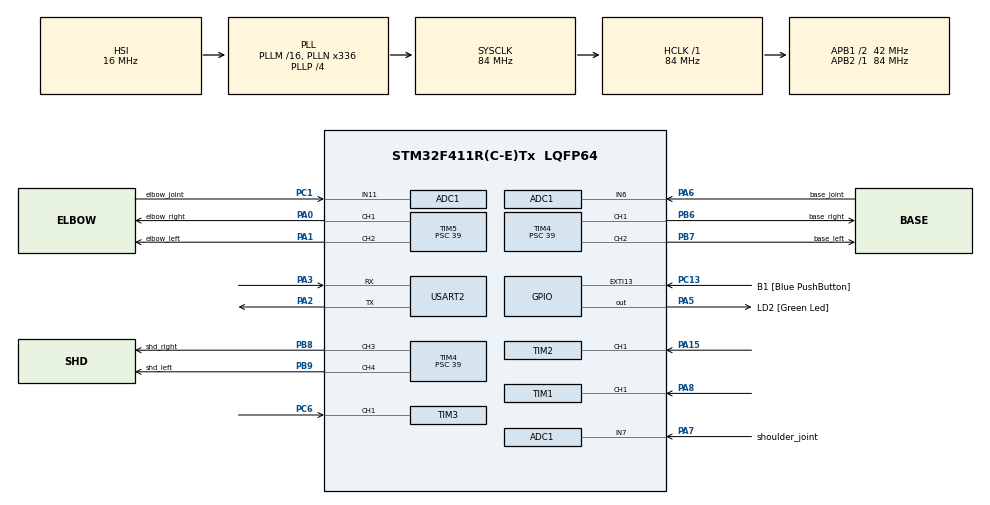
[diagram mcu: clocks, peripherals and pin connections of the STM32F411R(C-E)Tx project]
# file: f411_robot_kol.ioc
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ADC1.Channel-3\#ChannelRegularConversion=ADC_CHANNEL_6
ADC1.Channel-4\#ChannelRegularConversion=ADC_CHANNEL_7
ADC1.Channel-5\#ChannelRegularConversion=ADC_CHANNEL_11
ADC1.ContinuousConvMode=ENABLE
ADC1.DMAContinuousRequests=ENABLE
ADC1.EOCSelection=ADC_EOC_SEQ_CONV
ADC1.NbrOfConversion=3
ADC1.NbrOfConversionFlag=1
ADC1.Rank-3\#ChannelRegularConversion=1
ADC1.Rank-4\#ChannelRegularConversion=2
ADC1.Rank-5\#ChannelRegularConversion=3
ADC1.SamplingTime-3\#ChannelRegularConversion=ADC_SAMPLETIME_3CYCLES
ADC1.SamplingTime-4\#ChannelRegularConversion=ADC_SAMPLETIME_3CYCLES
ADC1.SamplingTime-5\#ChannelRegularConversion=ADC_SAMPLETIME_3CYCLES
ADC1.ScanConvMode=ENABLE
ADC1.master=1
Dma.ADC1.0.Direction=DMA_PERIPH_TO_MEMORY
Dma.ADC1.0.FIFOMode=DMA_FIFOMODE_DISABLE
Dma.ADC1.0.Instance=DMA2_Stream0
Dma.ADC1.0.MemDataAlignment=DMA_MDATAALIGN_HALFWORD
Dma.ADC1.0.MemInc=DMA_MINC_ENABLE
Dma.ADC1.0.Mode=DMA_CIRCULAR
Dma.ADC1.0.PeriphDataAlignment=DMA_PDATAALIGN_HALFWORD
Dma.ADC1.0.PeriphInc=DMA_PINC_DISABLE
Dma.ADC1.0.Priority=DMA_PRIORITY_LOW
Dma.Request0=ADC1
Mcu.Family=STM32F4
Mcu.Name=STM32F411R(C-E)Tx
Mcu.Package=LQFP64
NVIC.ADC_IRQn=true\:0\:0\:false\:false\:true\:true\:true\:true
NVIC.DMA2_Stream0_IRQn=true\:0\:0\:false\:false\:true\:false\:true\:true
NVIC.PriorityGroup=NVIC_PRIORITYGROUP_0
NVIC.TIM1_BRK_TIM9_IRQn=true\:0\:0\:false\:false\:true\:true\:true\:true
NVIC.TIM1_CC_IRQn=true\:0\:0\:false\:false\:true\:true\:true\:true
NVIC.TIM1_TRG_COM_TIM11_IRQn=true\:0\:0\:false\:false\:true\:true\:true\:true
NVIC.TIM1_UP_TIM10_IRQn=true\:0\:0\:false\:false\:true\:true\:true\:true
NVIC.TIM2_IRQn=true\:0\:0\:false\:false\:true\:true\:true\:true
NVIC.TIM3_IRQn=true\:0\:0\:false\:false\:true\:true\:true\:true
PA0-WKUP.GPIO_Label=elbow_right
PA0-WKUP.Signal=S_TIM5_CH1
PA1.GPIO_Label=elbow_left
PA1.Signal=S_TIM5_CH2
PA13.GPIO_Label=TMS
PA13.Mode=Serial_Wire
PA13.Signal=SYS_JTMS-SWDIO
PA14.GPIO_Label=TCK
PA14.Mode=Serial_Wire
PA14.Signal=SYS_JTCK-SWCLK
PA15.Signal=S_TIM2_CH1_ETR
PA2.Mode=Asynchronous
PA2.Signal=USART2_TX
PA3.Mode=Asynchronous
PA3.Signal=USART2_RX
PA5.GPIO_Label=LD2 [Green Led]
PA5.Signal=GPIO_Output
PA6.GPIO_Label=base_joint
PA6.Signal=ADCx_IN6
PA7.GPIO_Label=shoulder_joint
PA7.Signal=ADCx_IN7
PA8.Signal=S_TIM1_CH1
PB3.GPIO_Label=SWO
PB3.Signal=SYS_JTDO-SWO
PB6.GPIO_Label=base_right
PB6.Signal=S_TIM4_CH1
PB7.GPIO_Label=base_left
PB7.Signal=S_TIM4_CH2
PB8.GPIO_Label=shd_right
PB8.Signal=S_TIM4_CH3
PB9.GPIO_Label=shd_left
PB9.Signal=S_TIM4_CH4
PC1.GPIO_Label=elbow_joint
PC1.Signal=ADCx_IN11
PC13-ANTI_TAMP.GPIO_Label=B1 [Blue PushButton]
PC13-ANTI_TAMP.GPIO_ModeDefaultEXTI=GPIO_MODE_IT_FALLING
PC13-ANTI_TAMP.Signal=GPXTI13
PC14-OSC32_IN.Mode=LSE-External-Oscillator
PC14-OSC32_IN.Signal=RCC_OSC32_IN
PC15-OSC32_OUT.Mode=LSE-External-Oscillator
PC15-OSC32_OUT.Signal=RCC_OSC32_OUT
PC6.Signal=S_TIM3_CH1
PH0\ -\ OSC_IN.Mode=HSE-External-Clock-Source
PH0\ -\ OSC_IN.Signal=RCC_OSC_IN
PH1\ -\ OSC_OUT.Mode=HSE-External-Clock-Source
PH1\ -\ OSC_OUT.Signal=RCC_OSC_OUT
ProjectManager.HeapSize=0x200
ProjectManager.StackSize=0x400
ProjectManager.TargetToolchain=STM32CubeIDE
RCC.48MHZClocksFreq_Value=84000000
RCC.AHBFreq_Value=84000000
RCC.APB1CLKDivider=RCC_HCLK_DIV2
RCC.APB1Freq_Value=42000000
RCC.APB1TimFreq_Value=84000000
RCC.APB2Freq_Value=84000000
RCC.APB2TimFreq_Value=84000000
RCC.CortexFreq_Value=84000000
RCC.FLatency-AdvancedSettings=FLASH_LATENCY_2
RCC.HCLKFreq_Value=84000000
RCC.HSE_VALUE=8000000
RCC.HSI_VALUE=16000000
RCC.PLLN=336
RCC.PLLP=RCC_PLLP_DIV4
RCC.SYSCLKFreq_VALUE=84000000
RCC.SYSCLKSource=RCC_SYSCLKSOURCE_PLLCLK
RCC.VCOOutputFreq_Value=336000000
SH.ADCx_IN11.0=ADC1_IN11,IN11
SH.ADCx_IN6.0=ADC1_IN6,IN6
SH.ADCx_IN7.0=ADC1_IN7,IN7
SH.S_TIM1_CH1.0=TIM1_CH1,PWM_Input_1
SH.S_TIM2_CH1_ETR.0=TIM2_CH1,PWM_Input_1
SH.S_TIM3_CH1.0=TIM3_CH1,PWM_Input_1
SH.S_TIM4_CH1.0=TIM4_CH1,PWM Generation1 CH1
SH.S_TIM4_CH2.0=TIM4_CH2,PWM Generation2 CH2
SH.S_TIM4_CH3.0=TIM4_CH3,PWM Generation3 CH3
SH.S_TIM4_CH4.0=TIM4_CH4,PWM Generation4 CH4
SH.S_TIM5_CH1.0=TIM5_CH1,PWM Generation1 CH1
SH.S_TIM5_CH2.0=TIM5_CH2,PWM Generation2 CH2
TIM1.AutoReloadPreload=TIM_AUTORELOAD_PRELOAD_ENABLE
TIM1.Prescaler=49
TIM2.AutoReloadPreload=TIM_AUTORELOAD_PRELOAD_ENABLE
TIM3.AutoReloadPreload=TIM_AUTORELOAD_PRELOAD_ENABLE
TIM3.Prescaler=49
TIM4.Channel-PWM\ Generation1\ CH1=TIM_CHANNEL_1
TIM4.Channel-PWM\ Generation2\ CH2=TIM_CHANNEL_2
TIM4.Channel-PWM\ Generation3\ CH3=TIM_CHANNEL_3
TIM4.Channel-PWM\ Generation4\ CH4=TIM_CHANNEL_4
TIM4.Period=999
TIM4.Prescaler=39
TIM5.Channel-PWM\ Generation1\ CH1=TIM_CHANNEL_1
TIM5.Channel-PWM\ Generation2\ CH2=TIM_CHANNEL_2
TIM5.Period=999
TIM5.Prescaler=39
USART2.VirtualMode=VM_ASYNC
VP_TIM4_VS_ClockSourceINT.Mode=Internal
VP_TIM5_VS_ClockSourceINT.Mode=Internal
board=NUCLEO-F411RE

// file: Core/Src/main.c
/* USER CODE BEGIN Header */
/**
  ******************************************************************************
  * @file           : main.c
  * @brief          : Main program body
  ******************************************************************************
  * @attention
  *
  * Copyright (c) 2025 STMicroelectronics.
  * All rights reserved.
  *
  * This software is licensed under terms that can be found in the LICENSE file
  * in the root directory of this software component.
  * If no LICENSE file comes with this software, it is provided AS-IS.
  *
  ******************************************************************************
  */
/* USER CODE END Header */
#include "main.h"

/* USER CODE BEGIN Includes */
#include "math.h"
#include "stdio.h"
#include "string.h"
/* USER CODE END Includes */

/* USER CODE BEGIN PD */
#define UST_KOL_UZUNLUK 37.5f
#define ON_KOL_UZUNLUK 51
#define EL_UZUNLUK 10
#define RAD_TO_DEG (180.0 / M_PI)
#define MAX_PWM  1000
#define MIN_PWM -1000
/* USER CODE END PD */

ADC_HandleTypeDef hadc1;
DMA_HandleTypeDef hdma_adc1;

TIM_HandleTypeDef htim1;
TIM_HandleTypeDef htim2;
TIM_HandleTypeDef htim3;
TIM_HandleTypeDef htim4;
TIM_HandleTypeDef htim5;

UART_HandleTypeDef huart2;

/* USER CODE BEGIN PV */

typedef struct {
    int target_angle;      // Hedef açı (motorun ulaşması gereken açı)
    int current_angle;     // Ölçülen açı (encoder'dan alınan)
    int previous_error;    // Bir önceki hata değeri (PID hesaplaması için)
    int integral;          // Integral bileşeni (PID hesaplaması için)
    int output;            // PID çıktısı (motor kontrolü için PWM değeri)
    TIM_HandleTypeDef *htim; // Timer handle (PWM çıkışı için)
    uint32_t channel_1;
    uint32_t channel_2;// Timer kanal numarası (PWM kanalına karşılık gelir)
    //GPIO_TypeDef *GPIOx;     // GPIO portu (motor yönü için)
    //uint16_t GPIO_Pin;       // GPIO pin numarası (motor yönü için)
    float Kp;                // Proportional (P) kazanç
    float Ki;                // Integral (I) kazanç
    float Kd; 				// Derivative (D) kazanç
    uint32_t rank;  // Potansiyometre okuması için ADC
} Joint;

Joint BaseJoint = {0, 0, 0, 0, 0, &htim4, TIM_CHANNEL_1,TIM_CHANNEL_2,  1.0f, 0.0f, 0.0f, 0};
Joint ShoulderJoint = {70, 0, 0, 0, 0, &htim4, TIM_CHANNEL_3, TIM_CHANNEL_4,1.00f, 0.0f, 0.0f, 1};
Joint ElbowJoint = {100, 0, 0, 0, 0, &htim5, TIM_CHANNEL_1, TIM_CHANNEL_2, 1.00f, 0.0f, 0.0f, 2};
//Joint WristJoint = {170, 0, 0, 0, 0, &htim3, TIM_CHANNEL_4, GPIOB, GPIO_PIN_2, 1.0f, 0.1f, 0.01f, 3};

uint16_t base_joint_degree;
uint16_t shoulder_joint_degree;
uint16_t elbow_joint_degree;
uint16_t adcValues[3];
int dt = 0;

int32_t frequency1, duty_cycle1;
int32_t capture_value2;
int32_t capture_value1;
int32_t frequency2, duty_cycle2, duty_cycle3,capture_value3,frequency3;

float x=0;
float y=30;
float z=30;

void HAL_TIM_IC_CaptureCallback(TIM_HandleTypeDef *htim) {// -250 ile 250 arasında veriyo olması lazım

	if (htim->Instance == TIM1) {  // For forward and backwards
		        if (htim->Channel == HAL_TIM_ACTIVE_CHANNEL_1) {
		            capture_value1 = HAL_TIM_ReadCapturedValue(htim, TIM_CHANNEL_1);
		            if (capture_value1) {
		                frequency1 = SystemCoreClock / capture_value1;
		                duty_cycle1 = ((10000 * HAL_TIM_ReadCapturedValue(htim, TIM_CHANNEL_2)) / capture_value1)/25 -30;
		            }
		        }
		    }
	if (htim->Instance == TIM2) {  // For left and right
		        if (htim->Channel == HAL_TIM_ACTIVE_CHANNEL_1) {
		            capture_value2 = HAL_TIM_ReadCapturedValue(htim, TIM_CHANNEL_1);
		            if (capture_value2) {
		                frequency2 = SystemCoreClock / capture_value2;
		                duty_cycle2 = ((10000 * HAL_TIM_ReadCapturedValue(htim, TIM_CHANNEL_2)) / capture_value2)/25 -30;
		            }
		        }
		    }
	if (htim->Instance == TIM3) {  // For left and right
			        if (htim->Channel == HAL_TIM_ACTIVE_CHANNEL_1) {
			            capture_value3 = HAL_TIM_ReadCapturedValue(htim, TIM_CHANNEL_1);
			            if (capture_value3) {
			                frequency3 = SystemCoreClock / capture_value3;
			                duty_cycle3 = ((10000 * HAL_TIM_ReadCapturedValue(htim, TIM_CHANNEL_2)) / capture_value3)/25 - 30;
			            }
			        }
			    }
}

void Kinematik_Hesapla(float x, float y, float z)
{

    // Bilek pozisyonunun hesaplanması
    //float hipotenus_xy = sqrt(x * x + y * y);

    // Toplam uzunluk hesaplanıyor
    float c = sqrt(x * x + y * y + z * z);
    float R = UST_KOL_UZUNLUK + ON_KOL_UZUNLUK;
    float r = fabs(UST_KOL_UZUNLUK - ON_KOL_UZUNLUK);

    // Kinematik tanım alanı kontrolü
    if (c > R || c < r) {
        //printf("Hata: C noktası kinematik tanım alanı dışında!\n");
        return;
    }
    // Z eksenine bağlı olarak Teta açısının hesaplanması
    float Teta = (z == 0) ? 0 : asin(z / c) * RAD_TO_DEG;

    // Yörünge açısını hesapla
    int control_base = atan2(y, x) * RAD_TO_DEG;
    if(control_base >260){
    BaseJoint.target_angle = 260;
    }
    else if(control_base < 10){
    	BaseJoint.target_angle = 10;
    }
    else {
    	BaseJoint.target_angle = atan2(y, x) * RAD_TO_DEG;
    }

    // Dirsek ve Omuz açılarının hesaplanması
    float cos_Dirsek = fmax(-1.0f, fmin(1.0f, (pow(UST_KOL_UZUNLUK, 2) + pow(ON_KOL_UZUNLUK, 2) - pow(c, 2)) / (2 * UST_KOL_UZUNLUK * ON_KOL_UZUNLUK)));
    float cos_Beta = fmax(-1.0f, fmin(1.0f, (pow(UST_KOL_UZUNLUK, 2) + pow(c, 2) - pow(ON_KOL_UZUNLUK, 2)) / (2 * UST_KOL_UZUNLUK * c)));

    if (fabs(cos_Dirsek) > 1 || fabs(cos_Beta) > 1) {
    	return;
    }

    int control_elbow = acos(cos_Dirsek) * RAD_TO_DEG;
    if(control_elbow > 260){
    	ElbowJoint.target_angle = 260;
    }
    else if(control_elbow <10){
    	ElbowJoint.target_angle = 10;
    }
    else{
    	ElbowJoint.target_angle = control_elbow;
    }
    float Beta = acos(cos_Beta) * RAD_TO_DEG;
    // Mode kontrolü

    		int control_shoulder = Teta + Beta;
    		if(control_shoulder >260){
    			ShoulderJoint.target_angle = 260;
    		}
    		else if(control_shoulder <10){
    			ShoulderJoint.target_angle = 10;
    		}
    		else{
    		ShoulderJoint.target_angle = control_shoulder;
    		}
}

/* --- PWM Ayarı --- */
void setPWM(TIM_HandleTypeDef *htim, uint32_t channel_1, uint32_t channel_2, int16_t pwmvalue) {
    if (pwmvalue > 0) {

         // Motor ileri yönde
        __HAL_TIM_SET_COMPARE(htim, channel_1, fabs(pwmvalue));
        __HAL_TIM_SET_COMPARE(htim,channel_2,0);
    }
    else if (pwmvalue < 0) {
         // Motor geri yönde
        __HAL_TIM_SET_COMPARE(htim, channel_1, 0);
        __HAL_TIM_SET_COMPARE(htim,channel_2,fabs(pwmvalue));
    }
    else {
        __HAL_TIM_SET_COMPARE(htim, channel_1, 0);
        __HAL_TIM_SET_COMPARE(htim,channel_2,0);
    }
}

/* --- PID Hesaplama --- */
float calculatePID(Joint *joint, int dt) {
    float error = joint->target_angle - joint->current_angle;
    joint->integral += error /dt;
    float derivative = (error - joint->previous_error) * dt;
    joint->previous_error = error;

    joint->output = joint->Kp * error + joint->Ki * joint->integral + joint->Kd * derivative;

    if (joint->output > MAX_PWM) joint->output = MAX_PWM;
    if (joint->output < MIN_PWM) joint->output = MIN_PWM;

    return joint->output;
}

void Motor_Kontrol(Joint *joint, uint32_t adc_value)
{
    joint->current_angle = adc_value;
    //joint->current_angle = 270.0f * joint->current_angle / 4096.0f;  // 0-270 arası açıya dönüştür

	        // PID kontrolünü çağırarak motor hızını hesapla
    		dt = HAL_GetTick() - dt;
	        int16_t pwmvalue = calculatePID(joint,dt);
	        dt = HAL_GetTick();

	        setPWM(joint->htim, joint->channel_1, joint->channel_2, pwmvalue);
}

/******************ÖNEMLİ*****************/
void HAL_ADC_ConvCpltCallback(ADC_HandleTypeDef *hadc)
{
	base_joint_degree = 270.0f *adcValues[0]/4095.0f;// adcden gelen veri dereceye çevirilecek
	shoulder_joint_degree = 270.0f * adcValues[1]/4095.0f;
	elbow_joint_degree = 270.0f * adcValues[2]/4095.0f;
	x += (float)duty_cycle1 /10000;
		  y += (float)duty_cycle3 / 10000;
		  z += (float)duty_cycle2 / 10000;
		  Kinematik_Hesapla(x, y, z); //gripperı paralel olarak hedefe götürür
		  	 Motor_Kontrol(&BaseJoint, base_joint_degree);
		  	 Motor_Kontrol(&ShoulderJoint, shoulder_joint_degree);
		  	 Motor_Kontrol(&ElbowJoint, elbow_joint_degree);
// HAL_GPIO_TogglePin(GPIOA, GPIO_PIN_5);

  // Process the data
}

/* USER CODE END PV */

void SystemClock_Config(void);
static void MX_GPIO_Init(void);
static void MX_DMA_Init(void);
static void MX_USART2_UART_Init(void);
static void MX_TIM1_Init(void);
static void MX_TIM2_Init(void);
static void MX_TIM3_Init(void);
static void MX_ADC1_Init(void);
static void MX_TIM4_Init(void);
static void MX_TIM5_Init(void);

int main(void)
{

  /* MCU Configuration--------------------------------------------------------*/

  /* Reset of all peripherals, Initializes the Flash interface and the Systick. */
  HAL_Init();

  /* Configure the system clock */
  SystemClock_Config();

  /* Initialize all configured peripherals */
  MX_GPIO_Init();
  MX_DMA_Init();
  MX_USART2_UART_Init();
  MX_TIM1_Init();
  MX_TIM2_Init();
  MX_TIM3_Init();
  MX_TIM4_Init();
  MX_TIM5_Init();
  MX_ADC1_Init();
  /* USER CODE BEGIN 2 */
  HAL_TIM_PWM_Start(&htim4, TIM_CHANNEL_1);
  HAL_TIM_PWM_Start(&htim4, TIM_CHANNEL_2);
  HAL_TIM_PWM_Start(&htim4, TIM_CHANNEL_3);
  HAL_TIM_PWM_Start(&htim4, TIM_CHANNEL_4);
  HAL_TIM_PWM_Start(&htim5,TIM_CHANNEL_1);
  HAL_TIM_PWM_Start(&htim5,TIM_CHANNEL_2);

  HAL_ADC_Start_DMA(&hadc1, adcValues, 3);
  /* USER CODE END 2 */

  /* Infinite loop */
  /* USER CODE BEGIN WHILE */
  while (1)
  {
	  /*x += duty_cycle1;
	  y += duty_cycle3;
	  z += duty_cycle2;
	  Kinematik_Hesapla(x, y, z); //gripperı paralel olarak hedefe götürür
	  	 Motor_Kontrol(&BaseJoint, base_joint_degree);
	  	 Motor_Kontrol(&ShoulderJoint, shoulder_joint_degree);
	  	 Motor_Kontrol(&ElbowJoint, elbow_joint_degree);*/
	  	// Motor_Kontrol(&WristJoint, adcValues);
    /* USER CODE END WHILE */

  }
}

void SystemClock_Config(void)
{
  RCC_OscInitTypeDef RCC_OscInitStruct = {0};
  RCC_ClkInitTypeDef RCC_ClkInitStruct = {0};

  /** Configure the main internal regulator output voltage
  */
  __HAL_RCC_PWR_CLK_ENABLE();
  __HAL_PWR_VOLTAGESCALING_CONFIG(PWR_REGULATOR_VOLTAGE_SCALE1);

  /** Initializes the RCC Oscillators according to the specified parameters
  * in the RCC_OscInitTypeDef structure.
  */
  RCC_OscInitStruct.OscillatorType = RCC_OSCILLATORTYPE_HSI;
  RCC_OscInitStruct.HSIState = RCC_HSI_ON;
  RCC_OscInitStruct.HSICalibrationValue = RCC_HSICALIBRATION_DEFAULT;
  RCC_OscInitStruct.PLL.PLLState = RCC_PLL_ON;
  RCC_OscInitStruct.PLL.PLLSource = RCC_PLLSOURCE_HSI;
  RCC_OscInitStruct.PLL.PLLM = 16;
  RCC_OscInitStruct.PLL.PLLN = 336;
  RCC_OscInitStruct.PLL.PLLP = RCC_PLLP_DIV4;
  RCC_OscInitStruct.PLL.PLLQ = 4;
  if (HAL_RCC_OscConfig(&RCC_OscInitStruct) != HAL_OK)
  {
    Error_Handler();
  }

  /** Initializes the CPU, AHB and APB buses clocks
  */
  RCC_ClkInitStruct.ClockType = RCC_CLOCKTYPE_HCLK|RCC_CLOCKTYPE_SYSCLK
                              |RCC_CLOCKTYPE_PCLK1|RCC_CLOCKTYPE_PCLK2;
  RCC_ClkInitStruct.SYSCLKSource = RCC_SYSCLKSOURCE_PLLCLK;
  RCC_ClkInitStruct.AHBCLKDivider = RCC_SYSCLK_DIV1;
  RCC_ClkInitStruct.APB1CLKDivider = RCC_HCLK_DIV2;
  RCC_ClkInitStruct.APB2CLKDivider = RCC_HCLK_DIV1;

  if (HAL_RCC_ClockConfig(&RCC_ClkInitStruct, FLASH_LATENCY_2) != HAL_OK)
  {
    Error_Handler();
  }
}

static void MX_ADC1_Init(void)
{

  ADC_ChannelConfTypeDef sConfig = {0};

  /** Configure the global features of the ADC (Clock, Resolution, Data Alignment and number of conversion)
  */
  hadc1.Instance = ADC1;
  hadc1.Init.ClockPrescaler = ADC_CLOCK_SYNC_PCLK_DIV4;
  hadc1.Init.Resolution = ADC_RESOLUTION_12B;
  hadc1.Init.ScanConvMode = ENABLE;
  hadc1.Init.ContinuousConvMode = ENABLE;
  hadc1.Init.DiscontinuousConvMode = DISABLE;
  hadc1.Init.ExternalTrigConvEdge = ADC_EXTERNALTRIGCONVEDGE_NONE;
  hadc1.Init.ExternalTrigConv = ADC_SOFTWARE_START;
  hadc1.Init.DataAlign = ADC_DATAALIGN_RIGHT;
  hadc1.Init.NbrOfConversion = 3;
  hadc1.Init.DMAContinuousRequests = ENABLE;
  hadc1.Init.EOCSelection = ADC_EOC_SEQ_CONV;
  if (HAL_ADC_Init(&hadc1) != HAL_OK)
  {
    Error_Handler();
  }

  /** Configure for the selected ADC regular channel its corresponding rank in the sequencer and its sample time.
  */
  sConfig.Channel = ADC_CHANNEL_6;
  sConfig.Rank = 1;
  sConfig.SamplingTime = ADC_SAMPLETIME_3CYCLES;
  if (HAL_ADC_ConfigChannel(&hadc1, &sConfig) != HAL_OK)
  {
    Error_Handler();
  }

  /** Configure for the selected ADC regular channel its corresponding rank in the sequencer and its sample time.
  */
  sConfig.Channel = ADC_CHANNEL_7;
  sConfig.Rank = 2;
  if (HAL_ADC_ConfigChannel(&hadc1, &sConfig) != HAL_OK)
  {
    Error_Handler();
  }

  /** Configure for the selected ADC regular channel its corresponding rank in the sequencer and its sample time.
  */
  sConfig.Channel = ADC_CHANNEL_11;
  sConfig.Rank = 3;
  if (HAL_ADC_ConfigChannel(&hadc1, &sConfig) != HAL_OK)
  {
    Error_Handler();
  }

}

static void MX_TIM1_Init(void)
{

  TIM_SlaveConfigTypeDef sSlaveConfig = {0};
  TIM_IC_InitTypeDef sConfigIC = {0};
  TIM_MasterConfigTypeDef sMasterConfig = {0};

  htim1.Instance = TIM1;
  htim1.Init.Prescaler = 49;
  htim1.Init.CounterMode = TIM_COUNTERMODE_UP;
  htim1.Init.Period = 65535;
  htim1.Init.ClockDivision = TIM_CLOCKDIVISION_DIV1;
  htim1.Init.RepetitionCounter = 0;
  htim1.Init.AutoReloadPreload = TIM_AUTORELOAD_PRELOAD_ENABLE;
  if (HAL_TIM_IC_Init(&htim1) != HAL_OK)
  {
    Error_Handler();
  }
  sSlaveConfig.SlaveMode = TIM_SLAVEMODE_RESET;
  sSlaveConfig.InputTrigger = TIM_TS_TI1FP1;
  sSlaveConfig.TriggerPolarity = TIM_INPUTCHANNELPOLARITY_RISING;
  sSlaveConfig.TriggerPrescaler = TIM_ICPSC_DIV1;
  sSlaveConfig.TriggerFilter = 0;
  if (HAL_TIM_SlaveConfigSynchro(&htim1, &sSlaveConfig) != HAL_OK)
  {
    Error_Handler();
  }
  sConfigIC.ICPolarity = TIM_INPUTCHANNELPOLARITY_RISING;
  sConfigIC.ICSelection = TIM_ICSELECTION_DIRECTTI;
  sConfigIC.ICPrescaler = TIM_ICPSC_DIV1;
  sConfigIC.ICFilter = 0;
  if (HAL_TIM_IC_ConfigChannel(&htim1, &sConfigIC, TIM_CHANNEL_1) != HAL_OK)
  {
    Error_Handler();
  }
  sConfigIC.ICPolarity = TIM_INPUTCHANNELPOLARITY_FALLING;
  sConfigIC.ICSelection = TIM_ICSELECTION_INDIRECTTI;
  if (HAL_TIM_IC_ConfigChannel(&htim1, &sConfigIC, TIM_CHANNEL_2) != HAL_OK)
  {
    Error_Handler();
  }
  sMasterConfig.MasterOutputTrigger = TIM_TRGO_RESET;
  sMasterConfig.MasterSlaveMode = TIM_MASTERSLAVEMODE_DISABLE;
  if (HAL_TIMEx_MasterConfigSynchronization(&htim1, &sMasterConfig) != HAL_OK)
  {
    Error_Handler();
  }
  /* USER CODE BEGIN TIM1_Init 2 */
  HAL_TIM_IC_Start_IT(&htim1, TIM_CHANNEL_1);
    HAL_TIM_IC_Start_IT(&htim1, TIM_CHANNEL_2);
  /* USER CODE END TIM1_Init 2 */

}

static void MX_TIM2_Init(void)
{

  TIM_SlaveConfigTypeDef sSlaveConfig = {0};
  TIM_IC_InitTypeDef sConfigIC = {0};
  TIM_MasterConfigTypeDef sMasterConfig = {0};

  htim2.Instance = TIM2;
  htim2.Init.Prescaler = 0;
  htim2.Init.CounterMode = TIM_COUNTERMODE_UP;
  htim2.Init.Period = 4294967295;
  htim2.Init.ClockDivision = TIM_CLOCKDIVISION_DIV1;
  htim2.Init.AutoReloadPreload = TIM_AUTORELOAD_PRELOAD_ENABLE;
  if (HAL_TIM_IC_Init(&htim2) != HAL_OK)
  {
    Error_Handler();
  }
  sSlaveConfig.SlaveMode = TIM_SLAVEMODE_RESET;
  sSlaveConfig.InputTrigger = TIM_TS_TI1FP1;
  sSlaveConfig.TriggerPolarity = TIM_INPUTCHANNELPOLARITY_RISING;
  sSlaveConfig.TriggerPrescaler = TIM_ICPSC_DIV1;
  sSlaveConfig.TriggerFilter = 0;
  if (HAL_TIM_SlaveConfigSynchro(&htim2, &sSlaveConfig) != HAL_OK)
  {
    Error_Handler();
  }
  sConfigIC.ICPolarity = TIM_INPUTCHANNELPOLARITY_RISING;
  sConfigIC.ICSelection = TIM_ICSELECTION_DIRECTTI;
  sConfigIC.ICPrescaler = TIM_ICPSC_DIV1;
  sConfigIC.ICFilter = 0;
  if (HAL_TIM_IC_ConfigChannel(&htim2, &sConfigIC, TIM_CHANNEL_1) != HAL_OK)
  {
    Error_Handler();
  }
  sConfigIC.ICPolarity = TIM_INPUTCHANNELPOLARITY_FALLING;
  sConfigIC.ICSelection = TIM_ICSELECTION_INDIRECTTI;
  if (HAL_TIM_IC_ConfigChannel(&htim2, &sConfigIC, TIM_CHANNEL_2) != HAL_OK)
  {
    Error_Handler();
  }
  sMasterConfig.MasterOutputTrigger = TIM_TRGO_RESET;
  sMasterConfig.MasterSlaveMode = TIM_MASTERSLAVEMODE_DISABLE;
  if (HAL_TIMEx_MasterConfigSynchronization(&htim2, &sMasterConfig) != HAL_OK)
  {
    Error_Handler();
  }
  /* USER CODE BEGIN TIM2_Init 2 */
  HAL_TIM_IC_Start_IT(&htim2, TIM_CHANNEL_1);
    HAL_TIM_IC_Start_IT(&htim2, TIM_CHANNEL_2);
  /* USER CODE END TIM2_Init 2 */

}

static void MX_TIM3_Init(void)
{

  TIM_SlaveConfigTypeDef sSlaveConfig = {0};
  TIM_IC_InitTypeDef sConfigIC = {0};
  TIM_MasterConfigTypeDef sMasterConfig = {0};

  htim3.Instance = TIM3;
  htim3.Init.Prescaler = 49;
  htim3.Init.CounterMode = TIM_COUNTERMODE_UP;
  htim3.Init.Period = 65535;
  htim3.Init.ClockDivision = TIM_CLOCKDIVISION_DIV1;
  htim3.Init.AutoReloadPreload = TIM_AUTORELOAD_PRELOAD_ENABLE;
  if (HAL_TIM_IC_Init(&htim3) != HAL_OK)
  {
    Error_Handler();
  }
  sSlaveConfig.SlaveMode = TIM_SLAVEMODE_RESET;
  sSlaveConfig.InputTrigger = TIM_TS_TI1FP1;
  sSlaveConfig.TriggerPolarity = TIM_INPUTCHANNELPOLARITY_RISING;
  sSlaveConfig.TriggerPrescaler = TIM_ICPSC_DIV1;
  sSlaveConfig.TriggerFilter = 0;
  if (HAL_TIM_SlaveConfigSynchro(&htim3, &sSlaveConfig) != HAL_OK)
  {
    Error_Handler();
  }
  sConfigIC.ICPolarity = TIM_INPUTCHANNELPOLARITY_RISING;
  sConfigIC.ICSelection = TIM_ICSELECTION_DIRECTTI;
  sConfigIC.ICPrescaler = TIM_ICPSC_DIV1;
  sConfigIC.ICFilter = 0;
  if (HAL_TIM_IC_ConfigChannel(&htim3, &sConfigIC, TIM_CHANNEL_1) != HAL_OK)
  {
    Error_Handler();
  }
  sConfigIC.ICPolarity = TIM_INPUTCHANNELPOLARITY_FALLING;
  sConfigIC.ICSelection = TIM_ICSELECTION_INDIRECTTI;
  if (HAL_TIM_IC_ConfigChannel(&htim3, &sConfigIC, TIM_CHANNEL_2) != HAL_OK)
  {
    Error_Handler();
  }
  sMasterConfig.MasterOutputTrigger = TIM_TRGO_RESET;
  sMasterConfig.MasterSlaveMode = TIM_MASTERSLAVEMODE_DISABLE;
  if (HAL_TIMEx_MasterConfigSynchronization(&htim3, &sMasterConfig) != HAL_OK)
  {
    Error_Handler();
  }
  /* USER CODE BEGIN TIM3_Init 2 */
  HAL_TIM_IC_Start_IT(&htim3, TIM_CHANNEL_1);
    HAL_TIM_IC_Start_IT(&htim3, TIM_CHANNEL_2);
  /* USER CODE END TIM3_Init 2 */

}

static void MX_TIM4_Init(void)
{

  TIM_ClockConfigTypeDef sClockSourceConfig = {0};
  TIM_MasterConfigTypeDef sMasterConfig = {0};
  TIM_OC_InitTypeDef sConfigOC = {0};

  htim4.Instance = TIM4;
  htim4.Init.Prescaler = 39;
  htim4.Init.CounterMode = TIM_COUNTERMODE_UP;
  htim4.Init.Period = 999;
  htim4.Init.ClockDivision = TIM_CLOCKDIVISION_DIV1;
  htim4.Init.AutoReloadPreload = TIM_AUTORELOAD_PRELOAD_DISABLE;
  if (HAL_TIM_Base_Init(&htim4) != HAL_OK)
  {
    Error_Handler();
  }
  sClockSourceConfig.ClockSource = TIM_CLOCKSOURCE_INTERNAL;
  if (HAL_TIM_ConfigClockSource(&htim4, &sClockSourceConfig) != HAL_OK)
  {
    Error_Handler();
  }
  if (HAL_TIM_PWM_Init(&htim4) != HAL_OK)
  {
    Error_Handler();
  }
  sMasterConfig.MasterOutputTrigger = TIM_TRGO_RESET;
  sMasterConfig.MasterSlaveMode = TIM_MASTERSLAVEMODE_DISABLE;
  if (HAL_TIMEx_MasterConfigSynchronization(&htim4, &sMasterConfig) != HAL_OK)
  {
    Error_Handler();
  }
  sConfigOC.OCMode = TIM_OCMODE_PWM1;
  sConfigOC.Pulse = 0;
  sConfigOC.OCPolarity = TIM_OCPOLARITY_HIGH;
  sConfigOC.OCFastMode = TIM_OCFAST_DISABLE;
  if (HAL_TIM_PWM_ConfigChannel(&htim4, &sConfigOC, TIM_CHANNEL_1) != HAL_OK)
  {
    Error_Handler();
  }
  if (HAL_TIM_PWM_ConfigChannel(&htim4, &sConfigOC, TIM_CHANNEL_2) != HAL_OK)
  {
    Error_Handler();
  }
  if (HAL_TIM_PWM_ConfigChannel(&htim4, &sConfigOC, TIM_CHANNEL_3) != HAL_OK)
  {
    Error_Handler();
  }
  if (HAL_TIM_PWM_ConfigChannel(&htim4, &sConfigOC, TIM_CHANNEL_4) != HAL_OK)
  {
    Error_Handler();
  }
  HAL_TIM_MspPostInit(&htim4);

}

static void MX_TIM5_Init(void)
{

  TIM_ClockConfigTypeDef sClockSourceConfig = {0};
  TIM_MasterConfigTypeDef sMasterConfig = {0};
  TIM_OC_InitTypeDef sConfigOC = {0};

  htim5.Instance = TIM5;
  htim5.Init.Prescaler = 39;
  htim5.Init.CounterMode = TIM_COUNTERMODE_UP;
  htim5.Init.Period = 999;
  htim5.Init.ClockDivision = TIM_CLOCKDIVISION_DIV1;
  htim5.Init.AutoReloadPreload = TIM_AUTORELOAD_PRELOAD_DISABLE;
  if (HAL_TIM_Base_Init(&htim5) != HAL_OK)
  {
    Error_Handler();
  }
  sClockSourceConfig.ClockSource = TIM_CLOCKSOURCE_INTERNAL;
  if (HAL_TIM_ConfigClockSource(&htim5, &sClockSourceConfig) != HAL_OK)
  {
    Error_Handler();
  }
  if (HAL_TIM_PWM_Init(&htim5) != HAL_OK)
  {
    Error_Handler();
  }
  sMasterConfig.MasterOutputTrigger = TIM_TRGO_RESET;
  sMasterConfig.MasterSlaveMode = TIM_MASTERSLAVEMODE_DISABLE;
  if (HAL_TIMEx_MasterConfigSynchronization(&htim5, &sMasterConfig) != HAL_OK)
  {
    Error_Handler();
  }
  sConfigOC.OCMode = TIM_OCMODE_PWM1;
  sConfigOC.Pulse = 0;
  sConfigOC.OCPolarity = TIM_OCPOLARITY_HIGH;
  sConfigOC.OCFastMode = TIM_OCFAST_DISABLE;
  if (HAL_TIM_PWM_ConfigChannel(&htim5, &sConfigOC, TIM_CHANNEL_1) != HAL_OK)
  {
    Error_Handler();
  }
  if (HAL_TIM_PWM_ConfigChannel(&htim5, &sConfigOC, TIM_CHANNEL_2) != HAL_OK)
  {
    Error_Handler();
  }
  HAL_TIM_MspPostInit(&htim5);

}

static void MX_USART2_UART_Init(void)
{

  huart2.Instance = USART2;
  huart2.Init.BaudRate = 115200;
  huart2.Init.WordLength = UART_WORDLENGTH_8B;
  huart2.Init.StopBits = UART_STOPBITS_1;
  huart2.Init.Parity = UART_PARITY_NONE;
  huart2.Init.Mode = UART_MODE_TX_RX;
  huart2.Init.HwFlowCtl = UART_HWCONTROL_NONE;
  huart2.Init.OverSampling = UART_OVERSAMPLING_16;
  if (HAL_UART_Init(&huart2) != HAL_OK)
  {
    Error_Handler();
  }

}

static void MX_DMA_Init(void)
{

  /* DMA controller clock enable */
  __HAL_RCC_DMA2_CLK_ENABLE();

  /* DMA interrupt init */
  /* DMA2_Stream0_IRQn interrupt configuration */
  HAL_NVIC_SetPriority(DMA2_Stream0_IRQn, 0, 0);
  HAL_NVIC_EnableIRQ(DMA2_Stream0_IRQn);

}

static void MX_GPIO_Init(void)
{
  GPIO_InitTypeDef GPIO_InitStruct = {0};

  /* GPIO Ports Clock Enable */
  __HAL_RCC_GPIOC_CLK_ENABLE();
  __HAL_RCC_GPIOH_CLK_ENABLE();
  __HAL_RCC_GPIOA_CLK_ENABLE();
  __HAL_RCC_GPIOB_CLK_ENABLE();

  /*Configure GPIO pin Output Level */
  HAL_GPIO_WritePin(LD2_GPIO_Port, LD2_Pin, GPIO_PIN_RESET);

  /*Configure GPIO pin : B1_Pin */
  GPIO_InitStruct.Pin = B1_Pin;
  GPIO_InitStruct.Mode = GPIO_MODE_IT_FALLING;
  GPIO_InitStruct.Pull = GPIO_NOPULL;
  HAL_GPIO_Init(B1_GPIO_Port, &GPIO_InitStruct);

  /*Configure GPIO pin : LD2_Pin */
  GPIO_InitStruct.Pin = LD2_Pin;
  GPIO_InitStruct.Mode = GPIO_MODE_OUTPUT_PP;
  GPIO_InitStruct.Pull = GPIO_NOPULL;
  GPIO_InitStruct.Speed = GPIO_SPEED_FREQ_LOW;
  HAL_GPIO_Init(LD2_GPIO_Port, &GPIO_InitStruct);

}

void Error_Handler(void)
{
  __disable_irq();
  while (1)
  {
  }
}
